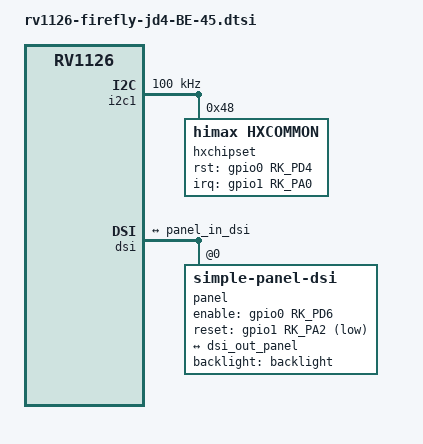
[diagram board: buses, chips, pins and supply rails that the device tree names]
// SPDX-License-Identifier: (GPL-2.0+ OR MIT)
/*
 * Copyright (c) 2020 Rockchip Electronics Co., Ltd.
 */

#include "rv1126-firefly-jd4.dtsi"

&gsl3680 {
	status = "disabled";
};

&os04a10 {
	status = "disabled";
};

&lcd_n {
	status = "disabled";
};

&i2c1 {
     clock-frequency = <100000>;

     i2c-scl-rising-time-ns = <7>;
     i2c-scl-falling-time-ns = <7>;

     hxchipset: hxchipset@48{ 
        status = "okay";
        compatible = "himax,hxcommon";
        reg = <0x48>;                   
	interrupt-parent = <&gpio1>;
	interrupts = <RK_PA0 IRQ_TYPE_LEVEL_LOW>;

        himax,rst-gpio =  <&gpio0 RK_PD4 GPIO_ACTIVE_HIGH>;
        himax,irq-gpio = <&gpio1 RK_PA0 IRQ_TYPE_LEVEL_LOW>;
	//pinctrl-0 = <&tp_ctl>,<&tp_irq>;
	pinctrl-0 = <&tp_ctl>;
        pinctrl-names = "default";


        himax,panel-coords = <0 800 0 1280>;      //触摸范围
        himax,display-coords = <0 800 0 1280>;    //分辨率
        report_type = <1>;
    };

};

&dsi {

	status = "okay";
	
        panel@0 {
                compatible = "simple-panel-dsi";

                reg = <0>;
                backlight = <&backlight>;
                /delete-property/ power-supply;
		enable-gpios = <&gpio0 RK_PD6 GPIO_ACTIVE_HIGH>;
		reset-gpios = <&gpio1 RK_PA2 GPIO_ACTIVE_LOW>;
		
		pinctrl-0 = <&lcd_ctl>,<&lcd_rst>;
		//pinctrl-0 = <&lcd_rst>;
                pinctrl-names = "default";

		enable-delay-ms = <35>;
        	prepare-delay-ms = <6>;
        	reset-delay-ms = <25>;
        	init-delay-ms = <55>;
       	 	unprepare-delay-ms = <0>;
	    	disable-delay-ms = <20>;
        	mipi-data-delay-ms = <200>;
        	dsi,flags = <(MIPI_DSI_MODE_VIDEO | MIPI_DSI_MODE_VIDEO_BURST | MIPI_DSI_MODE_LPM | MIPI_DSI_MODE_EOT_PACKET)>;
        	dsi,format = <MIPI_DSI_FMT_RGB888>;
        	dsi,lanes  = <4>;

                status = "okay";
		
		panel-init-sequence = [
            		//39 00 04 B9 83 10 2E
            		// 15 00 02 CF FF
            		05 78 01 11
            		05 32 01 29
            		//15 00 02 35 00
        	];

        	panel-exit-sequence = [
            		05 00 01 28
            		05 00 01 10
        	];

                display-timings {
                        native-mode = <&timing0>;
                        timing0: timing0 {
				clock-frequency = <72600000>;//<80000000>;
                		hactive = <800>;//<768>;
                		vactive = <1280>;
                		hsync-len = <14>;   //20, 50,10
                		hback-porch = <26>; //50, 56,10
                		hfront-porch = <32>;//50, 30,180
                		vsync-len = <8>;//4
                		vback-porch = <20>;//4
                		vfront-porch = <80>;//8
                		hsync-active = <0>;
                		vsync-active = <0>;
                		de-active = <0>;
                		pixelclk-active = <0>;
                        };
                };

                ports {
                        #address-cells = <1>;
                        #size-cells = <0>;

                        port@0 {
                                reg = <0>;
                                panel_in_dsi: endpoint {
                                        remote-endpoint = <&dsi_out_panel>;
                                };
                        };
                };
	};

        ports {
                #address-cells = <1>;
                #size-cells = <0>;

                port@1 {
                        reg = <1>;
                        dsi_out_panel: endpoint {
                                remote-endpoint = <&panel_in_dsi>;
                        };
                };
        };

};
